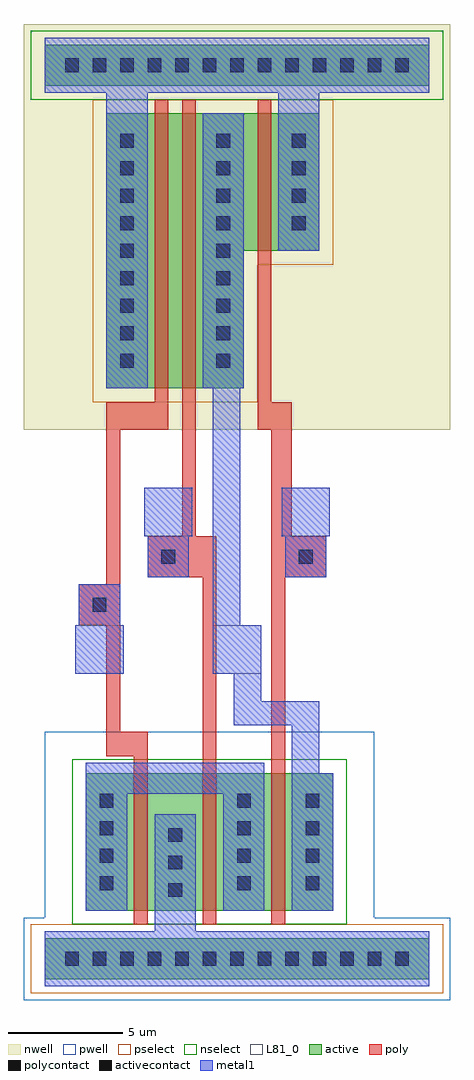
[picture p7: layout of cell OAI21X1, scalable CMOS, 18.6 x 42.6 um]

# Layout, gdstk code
import gdstk
lib = gdstk.Library(unit=1e-6, precision=1e-09)
def R(c, l, rs):  # rectangles x0, y0, x1, y1
    for r in rs: c.add(gdstk.rectangle(r[:2], r[2:], *l))
def A(c, l, x, y, w, h, nx, ny, dx, dy):  # array of equal rectangles
    R(c, l, [(x+i*dx, y+j*dy, x+i*dx+w, y+j*dy+h) for i in range(nx) for j in range(ny)])
pwell = (41, 0)
nwell = (42, 0)
active = (43, 0)
pselect = (44, 0)
nselect = (45, 0)
poly = (46, 0)
polycontact = (47, 0)
activecontact = (48, 0)
metal1 = (49, 0)
L81_0 = (81, 0)

oai21x1 = lib.new_cell('OAI21X1')
R(oai21x1, pwell, [(-1.8,-1.8,16.8,1.8), (-0.9,1.8,13.5,9.9)])
R(oai21x1, nwell, [(-1.8,23.1,16.8,40.8)])
R(oai21x1, active, [(-0.9,-0.9,15.9,0.9), (0.9,2.1,11.7,8.1), (1.8,24.9,7.8,30.9), (1.8,30.9,11.1,36.9), (-0.9,38.1,15.9,39.9)])
R(oai21x1, pselect, [(-1.5,-1.5,16.5,1.5), (1.2,24.3,8.4,30.3), (1.2,30.3,11.7,37.5)])
R(oai21x1, nselect, [(0.3,1.5,12.3,8.7), (-1.5,37.5,16.5,40.5)])
R(oai21x1, poly, [(3,1.5,3.6,8.85), (6,1.5,6.6,16.65), (9,1.5,9.6,16.65), (1.8,8.85,3.6,9.9), (1.8,9.9,2.4,14.55), (0.6,14.55,2.4,16.35), (1.8,16.35,2.4,23.1), (3.6,16.65,6.6,18.45), (9,16.65,11.4,18.45), (5.1,18.45,5.7,37.5), (9,18.45,9.9,23.1), (1.8,23.1,4.5,24.3), (8.4,23.1,9.9,24.3), (3.9,24.3,4.5,37.5), (8.4,24.3,9,37.5)])
R(oai21x1, polycontact, [(1.2,15.15,1.8,15.75), (4.2,17.25,4.8,17.85), (10.2,17.25,10.8,17.85)])
A(oai21x1, activecontact, 0, -0.3, 0.6, 0.6, 13, 2, 1.2, 39)
A(oai21x1, activecontact, 4.5, 2.7, 0.6, 0.6, 1, 3, 0, 1.2)
A(oai21x1, activecontact, 1.5, 3, 0.6, 0.6, 1, 4, 0, 1.2)
A(oai21x1, activecontact, 7.5, 3, 0.6, 0.6, 1, 4, 0, 1.2)
A(oai21x1, activecontact, 10.5, 3, 0.6, 0.6, 1, 4, 0, 1.2)
A(oai21x1, activecontact, 2.4, 25.8, 0.6, 0.6, 1, 9, 0, 1.2)
A(oai21x1, activecontact, 6.6, 25.8, 0.6, 0.6, 1, 9, 0, 1.2)
A(oai21x1, activecontact, 9.9, 31.8, 0.6, 0.6, 1, 4, 0, 1.2)
R(oai21x1, metal1, [(-0.9,-1.2,15.9,1.2), (3.9,1.2,5.7,6.3), (0.9,2.1,2.7,7.2), (6.9,2.1,8.7,7.2), (9.9,2.1,11.7,8.1), (0.9,7.2,8.7,8.55), (9.9,8.1,11.1,10.2), (7.35,10.2,11.1,11.25), (7.35,11.25,8.55,12.45), (0.45,12.45,2.55,14.55), (6.45,12.45,8.55,14.55), (0.6,14.55,2.4,16.35), (6.45,14.55,7.65,24.9), (3.6,16.65,5.4,18.45), (9.6,16.65,11.4,18.45), (3.45,18.45,5.55,20.55), (9.45,18.45,11.55,20.55), (1.8,24.9,3.6,37.8), (6,24.9,7.8,36.9), (9.3,30.9,11.1,37.8), (-0.9,37.8,15.9,40.2)])
R(oai21x1, L81_0, [(0.45,12.45,2.55,14.55), (6.45,12.45,8.55,14.55), (3.45,18.45,5.55,20.55), (9.45,18.45,11.55,20.55)])

lib.write_gds('OAI21X1.gds')
